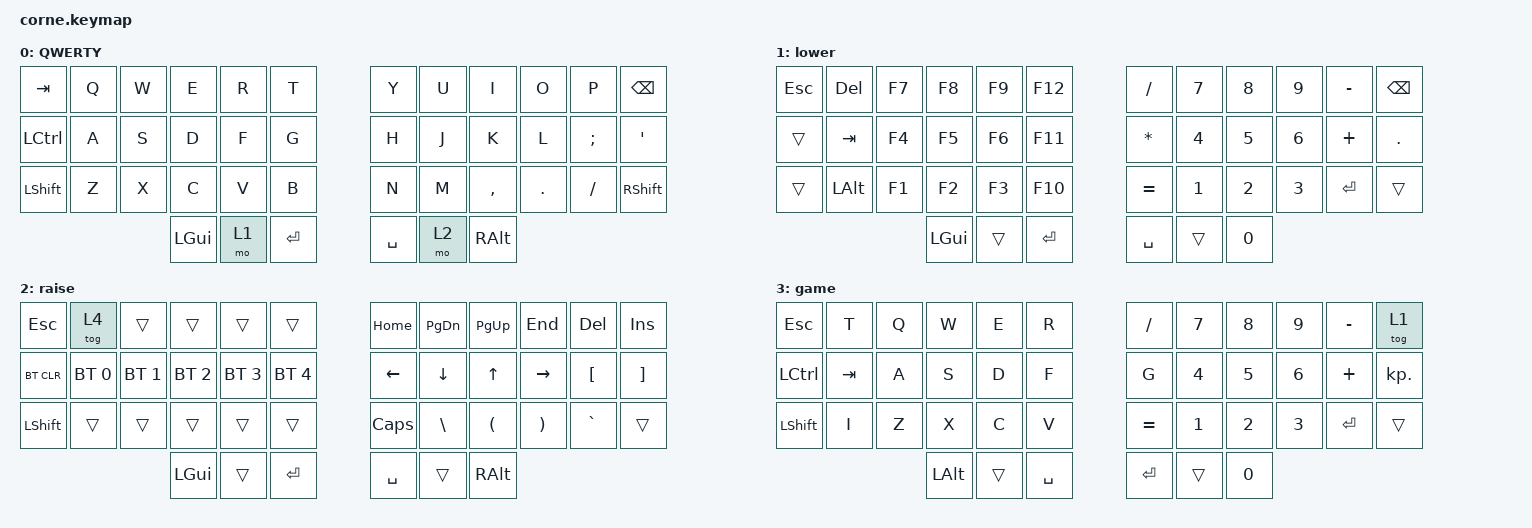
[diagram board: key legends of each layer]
/*
 * Copyright (c) 2020 The ZMK Contributors
 *
 * SPDX-License-Identifier: MIT
 */

#include <behaviors.dtsi>
#include <dt-bindings/zmk/keys.h>
#include <dt-bindings/zmk/bt.h>

/ {
        keymap {
                compatible = "zmk,keymap";

                default_layer {
                  display-name = "QWERTY";
// --------------------------------------------------------------------------------
// | TAB  |  Q  |  W  |  E  |  R  |  T  |   |  Y  |  U   |  I  |  O  |  P  | BSPC |
// | CTRL |  A  |  S  |  D  |  F  |  G  |   |  H  |  J   |  K  |  L  |  ;  |  '   |
// | SHFT |  Z  |  X  |  C  |  V  |  B  |   |  N  |  M   |  ,  |  .  |  /  | SHFT |
//                    | GUI | LWR | ENT |   | SPC | RSE  | ALT |
                        bindings = <
   &kp TAB   &kp Q &kp W &kp E &kp R &kp T   &kp Y &kp U  &kp I     &kp O   &kp P    &kp BSPC
   &kp LCTRL &kp A &kp S &kp D &kp F &kp G   &kp H &kp J  &kp K     &kp L   &kp SEMI &kp SQT
   &kp LSHFT &kp Z &kp X &kp C &kp V &kp B   &kp N &kp M  &kp COMMA &kp DOT &kp FSLH &kp RSHFT
                  &kp LGUI &mo 1 &kp RET     &kp SPACE &mo 2 &kp RALT
                        >;
                };
                lower_layer {
                  display-name = "lower";
// -------------------------------------------------------------------------------
// | ESC  | DEL | F7  | F8  |  F9 | F12 |   |  /  |  7  |  8  |  9  |  -  | BSPC |
// | CTRL | TAB | F4  | F5  |  F6 | F11 |   |  *  |  4  |  5  |  6  |  +  |  .   |
// | SHFT | ALT | F1  | F2  |  F3 | F10 |   |  =  |  1  |  2  |  3  | ENT |      |
//                    | GUI |     | ENT |   | SPC |     |  0  |
                        bindings = <
   &kp ESC &kp DEL   &kp F7  &kp F8  &kp F9  &kp F12    &kp SLASH &kp N7 &kp N8 &kp N9 &kp MINUS &kp BSPC
   &trans  &kp TAB   &kp F4  &kp F5  &kp F6  &kp F11    &kp ASTRK &kp N4 &kp N5 &kp N6 &kp PLUS  &kp DOT
   &trans  &kp LALT  &kp F1  &kp F2  &kp F3  &kp F10    &kp EQUAL &kp N1 &kp N2 &kp N3 &kp RET   &trans
                           &kp LGUI &trans &kp RET      &kp SPACE  &trans   &kp N0
                        >;
                };

                raise_layer {
                  display-name = "raise";
// -------------------------------------------------------------------------------
// | ESC  | T4  |     |     |     |     |   | HOME| PGDN| PGUP| END | DEL | BSPC |
// | BTCLR| BT1 | BT2 | BT3 | BT4 | BT5 |   | LFT | DWN |  UP | RGT |  [  |  ]   |
// | SHFT |     |     |     |     |     |   |     |  \  |  (  |  )  |  `  |      |
//                    | GUI |     | ENT |   | SPC |     | ALT |
                        bindings = <
   &kp ESC    &tog 4       &trans       &trans       &trans       &trans         &kp HOME &kp PG_DN &kp PG_UP   &kp END     &kp DEL   &kp INS
   &bt BT_CLR &bt BT_SEL 0 &bt BT_SEL 1 &bt BT_SEL 2 &bt BT_SEL 3 &bt BT_SEL 4   &kp LEFT &kp DOWN  &kp UP      &kp RIGHT   &kp LBKT  &kp RBKT
   &kp LSHFT  &trans       &trans       &trans       &trans       &trans         &kp CAPS   &kp BSLH  &kp LPAR &kp RPAR &kp GRAVE &trans
                             &kp LGUI &trans   &kp RET                           &kp SPACE   &trans    &kp RALT
                        >;
                };

                game_layer {
                  display-name = "game";
//// -------------------------------------------------------------------------------
//// | ESC  |  T  |  Q  |  W  |  E  |  R  |   |     |  7  |  8  |  9  |     |      |
//// | CTRL | TAB |  A  |  S  |  D  |  F  |   |     |  4  |  5  |  6  |     |      |
//// | SHFT |  I  |  Z  |  X  |  C  |  V  |   |     |  1  |  2  |  3  |     |      |
////                    |     |     | SPC |   | ENT |     |  0  |
                        bindings = <
   &kp ESC   &kp T   &kp Q  &kp W  &kp E  &kp R       &kp SLASH &kp N7 &kp N8 &kp N9 &kp MINUS &tog 1
   &kp LCTRL &kp TAB &kp A  &kp S  &kp D  &kp F       &kp G &kp N4 &kp N5 &kp N6 &kp PLUS  &kp KP_DOT
   &kp LSHFT &kp I   &kp Z  &kp X  &kp C  &kp V       &kp EQUAL &kp N1 &kp N2 &kp N3 &kp RET   &trans
                           &kp LALT &trans &kp SPACE  &kp RET  &trans   &kp N0
                        >;
                };
        };
};
